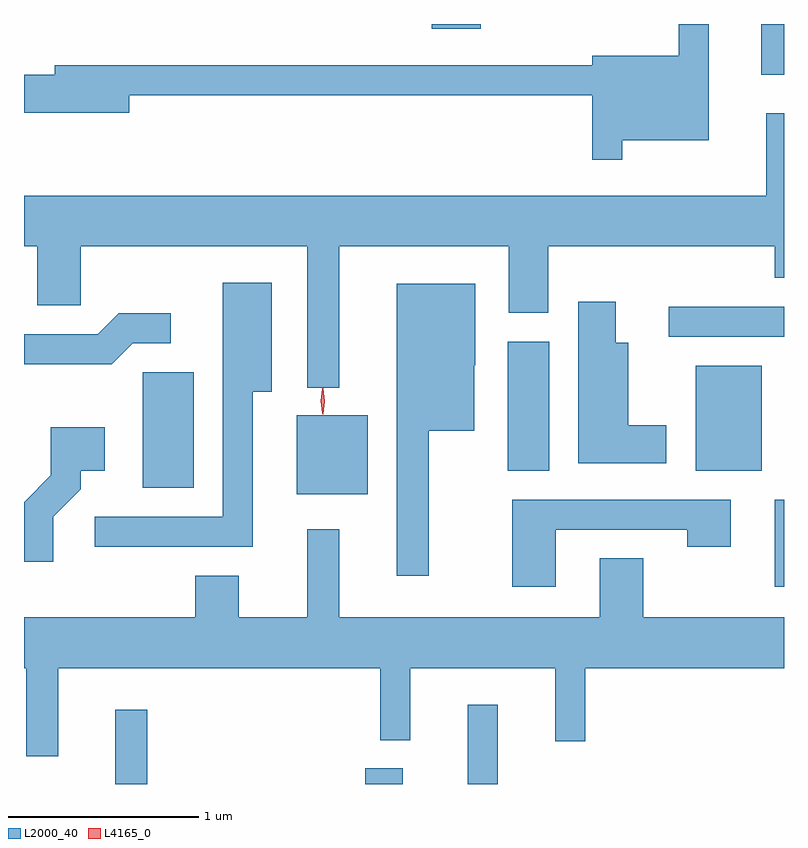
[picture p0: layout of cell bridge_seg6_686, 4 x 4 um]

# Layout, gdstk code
import gdstk
lib = gdstk.Library(unit=1e-6, precision=1e-09)
def R(c, l, rs):  # rectangles x0, y0, x1, y1
    for r in rs: c.add(gdstk.rectangle(r[:2], r[2:], *l))
def P(c, l, *ps):  # polygons
    for p in ps: c.add(gdstk.Polygon(p, *l))
L2000_40 = (2000, 40)
L4165_0 = (4165, 0)

bridge_seg6_686 = lib.new_cell('bridge_seg6_686')
R(bridge_seg6_686, L2000_40, [(244.311,1542.767,244.479,1543.158), (245.626,1542.767,245.824,1542.849), (246.166,1542.767,246.324,1543.183), (247.781,1543.806,247.83,1544.264), (245.266,1544.291,245.639,1544.709), (244.456,1544.326,244.724,1544.934), (246.376,1544.416,246.594,1545.094), (247.366,1544.416,247.714,1544.969), (247.223,1545.121,247.83,1545.279), (247.711,1546.501,247.83,1546.767), (245.976,1546.741,246.234,1546.767)])
P(bridge_seg6_686, L2000_40, [(246.979,1546.156),(247.434,1546.156),(247.434,1546.767),(247.276,1546.767),(247.276,1546.599),(246.821,1546.599),(246.821,1546.549),(243.991,1546.549),(243.991,1546.499),(243.83,1546.499),(243.83,1546.301),(244.384,1546.301),(244.384,1546.391),(246.821,1546.391),(246.821,1546.053),(246.979,1546.053)],
  [(245.489,1545.596),(246.381,1545.596),(246.381,1545.246),(246.589,1545.246),(246.589,1545.596),(247.781,1545.596),(247.781,1545.431),(247.83,1545.431),(247.83,1546.298),(247.736,1546.298),(247.736,1545.864),(243.83,1545.864),(243.83,1545.596),(243.901,1545.596),(243.901,1545.286),(244.129,1545.286),(244.129,1545.596),(245.321,1545.596),(245.321,1544.853),(245.489,1544.853)],
  [(245.034,1544.831),(245.134,1544.831),(245.134,1545.404),(244.876,1545.404),(244.876,1544.174),(244.203,1544.174),(244.203,1544.016),(245.034,1544.016)],
  [(245.959,1544.626),(246.199,1544.626),(246.199,1544.97),(246.204,1544.97),(246.204,1545.399),(245.791,1545.399),(245.791,1543.863),(245.959,1543.863)],
  [(247.209,1544.654),(247.009,1544.654),(247.009,1545.089),(246.944,1545.089),(246.944,1545.304),(246.746,1545.304),(246.746,1544.456),(247.209,1544.456)],
  [(244.402,1545.086),(244.603,1545.086),(244.603,1545.244),(244.329,1545.244),(244.219,1545.134),(243.83,1545.134),(243.83,1544.976),(244.292,1544.976)],
  [(243.984,1544.174),(244.129,1544.319),(244.129,1544.416),(244.254,1544.416),(244.254,1544.644),(243.971,1544.644),(243.971,1544.392),(243.83,1544.251),(243.83,1543.936),(243.984,1543.936)],
  [(246.629,1544.106),(247.321,1544.106),(247.321,1544.016),(247.549,1544.016),(247.549,1544.264),(246.401,1544.264),(246.401,1543.806),(246.629,1543.806)],
  [(244.009,1543.376),(245.706,1543.376),(245.706,1542.998),(245.864,1542.998),(245.864,1543.376),(246.626,1543.376),(246.626,1542.993),(246.784,1542.993),(246.784,1543.376),(247.83,1543.376),(247.83,1543.644),(247.089,1543.644),(247.089,1543.954),(246.861,1543.954),(246.861,1543.644),(245.489,1543.644),(245.489,1544.108),(245.321,1544.108),(245.321,1543.644),(244.959,1543.644),(244.959,1543.864),(244.731,1543.864),(244.731,1543.644),(243.83,1543.644),(243.83,1543.376),(243.841,1543.376),(243.841,1542.913),(244.009,1542.913)])
P(bridge_seg6_686, L4165_0, [(245.403,1544.714),(245.403,1544.714),(245.394,1544.782),(245.403,1544.85),(245.403,1544.85),(245.404,1544.85),(245.413,1544.782),(245.404,1544.714)],
  [(245.401,1544.718),(245.4,1544.719),(245.391,1544.783),(245.401,1544.847),(245.402,1544.847),(245.402,1544.847),(245.412,1544.783),(245.401,1544.719)])

lib.write_gds('bridge_seg6_686.gds')
